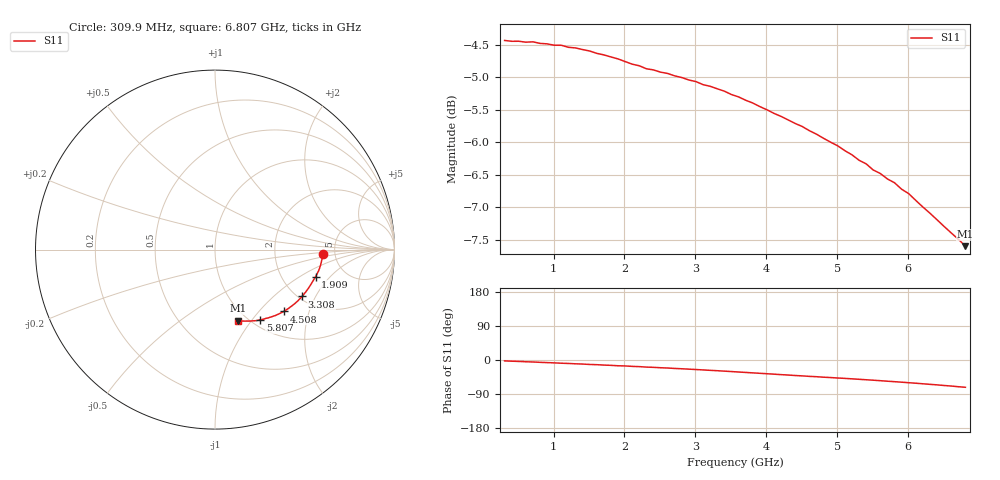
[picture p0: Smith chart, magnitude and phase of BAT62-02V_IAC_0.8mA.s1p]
! Infineon Technologies  Discrete & RF Semiconductors
! BAT62-02V
! IAC = 0.8 mA
! One-Port S-Parameters
# Hz  S  MA  R  50
!f  S11
!Hz  Mag  Ang
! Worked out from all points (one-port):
!   66 points, 309.9 MHz to 6.807 GHz, reference 50 ohm
!   lowest |S11| = -7.6 dB at 6.807 GHz (marker M1), VSWR 2.43, Z = 45.1 - j43.3 ohm
!   |S11| at or under -10 dB: nowhere
!   S11 on the Smith chart (normalised r, x): 309.9 MHz: 3.97, -0.31; 1.909 GHz: 3.06, -1.41; 3.308 GHz: 2.09, -1.57; 4.508 GHz: 1.47, -1.38; 5.807 GHz: 1.10, -1.10; 6.807 GHz: 0.90, -0.87
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3.0985e8  0.6 -2.4
7.0965e8  0.5985 -5.2
1.10945e9  0.5949 -8.5
1.2094e9  0.5928 -9.1
1.30935e9  0.5921 -10.0
1.4093e9  0.5904 -10.7
1.50925e9  0.5889 -11.8
1.6092e9  0.5865 -12.4
1.70915e9  0.5849 -13.4
1.8091e9  0.5828 -14.1
1.90905e9  0.5807 -15.2
2.009e9  0.578 -15.7
2.10895e9  0.5754 -16.8
2.2089e9  0.5737 -17.5
2.30885e9  0.5707 -18.7
2.4088e9  0.5696 -19.4
2.8086e9  0.5619 -23.1
3.30835e9  0.5509 -28.3
3.6082e9  0.5431 -31.7
4.008e9  0.5308 -36.3
4.4078e9  0.5181 -41.0
4.50775e9  0.5153 -41.9
4.8076e9  0.5047 -45.4
5.2074e9  0.4902 -49.7
5.8071e9  0.4666 -57.2
6.007e9  0.4577 -59.9
6.50675e9  0.4319 -67.3
6.8066e9  0.4171 -72.0
